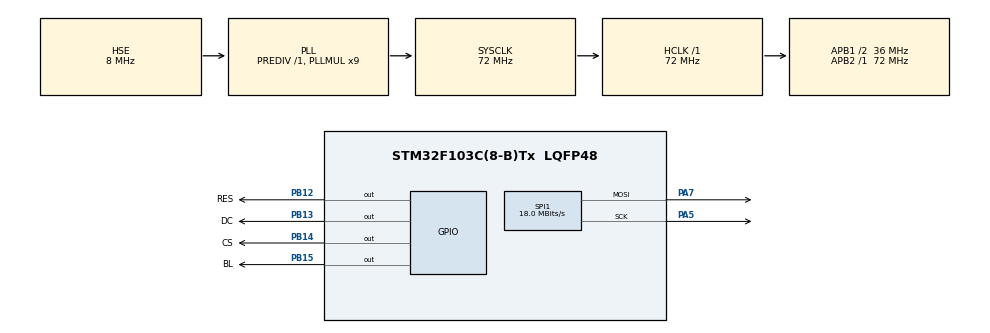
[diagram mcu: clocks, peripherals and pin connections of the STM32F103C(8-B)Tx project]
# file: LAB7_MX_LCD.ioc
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Mcu.Family=STM32F1
Mcu.Name=STM32F103C(8-B)Tx
Mcu.Package=LQFP48
NVIC.PriorityGroup=NVIC_PRIORITYGROUP_4
PA13.Mode=Serial_Wire
PA13.Signal=SYS_JTMS-SWDIO
PA14.Mode=Serial_Wire
PA14.Signal=SYS_JTCK-SWCLK
PA5.Mode=TX_Only_Simplex_Unidirect_Master
PA5.Signal=SPI1_SCK
PA7.Mode=TX_Only_Simplex_Unidirect_Master
PA7.Signal=SPI1_MOSI
PB12.GPIO_Label=RES
PB12.Signal=GPIO_Output
PB13.GPIO_Label=DC
PB13.Signal=GPIO_Output
PB14.GPIO_Label=CS
PB14.Signal=GPIO_Output
PB15.GPIO_Label=BL
PB15.Signal=GPIO_Output
PD0-OSC_IN.Mode=HSE-External-Oscillator
PD0-OSC_IN.Signal=RCC_OSC_IN
PD1-OSC_OUT.Mode=HSE-External-Oscillator
PD1-OSC_OUT.Signal=RCC_OSC_OUT
ProjectManager.HeapSize=0x200
ProjectManager.StackSize=0x400
ProjectManager.TargetToolchain=MDK-ARM V5.32
RCC.AHBFreq_Value=72000000
RCC.APB1CLKDivider=RCC_HCLK_DIV2
RCC.APB1Freq_Value=36000000
RCC.APB1TimFreq_Value=72000000
RCC.APB2Freq_Value=72000000
RCC.APB2TimFreq_Value=72000000
RCC.HCLKFreq_Value=72000000
RCC.PLLMUL=RCC_PLL_MUL9
RCC.PLLSourceVirtual=RCC_PLLSOURCE_HSE
RCC.SYSCLKFreq_VALUE=72000000
RCC.SYSCLKSource=RCC_SYSCLKSOURCE_PLLCLK
RCC.USBFreq_Value=72000000
SPI1.BaudRatePrescaler=SPI_BAUDRATEPRESCALER_4
SPI1.CalculateBaudRate=18.0 MBits/s
SPI1.Direction=SPI_DIRECTION_2LINES
SPI1.Mode=SPI_MODE_MASTER
SPI1.VirtualType=VM_MASTER
board=custom

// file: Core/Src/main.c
///* USER CODE BEGIN Header */
///**
//  ******************************************************************************
//  * @file           : main.c
//  * @brief          : Main program body
//  ******************************************************************************
//  * @attention
//  *
//  * Copyright (c) 2023 STMicroelectronics.
//  * All rights reserved.
//  *
//  * This software is licensed under terms that can be found in the LICENSE file
//  * in the root directory of this software component.
//  * If no LICENSE file comes with this software, it is provided AS-IS.
//  *
//  ******************************************************************************
//  */
///* USER CODE END Header */
///* Includes ------------------------------------------------------------------*/
//#include "main.h"

///* Private includes ----------------------------------------------------------*/
///* USER CODE BEGIN Includes */
//#include "st7735.h"
//#include "fonts.h"
//#include "image.h"
//#include "PLL.h"
//#include "Timer.h"
//#include "ADC.h"
//#include "IO.h"
//#include "SysTick.h"
//#include "UART.h"
//#include "Random.h"
//#include "SpaceInvaders.h"
//#include <string.h>

///* USER CODE END Includes */

///* Private typedef -----------------------------------------------------------*/
///* USER CODE BEGIN PTD */

///* USER CODE END PTD */

///* Private define ------------------------------------------------------------*/
///* USER CODE BEGIN PD */
//#define GPIOB_PIN_7 (1 << 7)
///* USER CODE END PD */

///* Private macro -------------------------------------------------------------*/
///* USER CODE BEGIN PM */

///* USER CODE END PM */

///* Private variables ---------------------------------------------------------*/
//SPI_HandleTypeDef hspi1;

///* USER CODE BEGIN PV */

///* USER CODE END PV */

///* Private function prototypes -----------------------------------------------*/
//void SystemClock_Config(void);
//static void MX_GPIO_Init(void);
//static void MX_SPI1_Init(void);
///* USER CODE BEGIN PFP */

///* USER CODE END PFP */

///* Private user code ---------------------------------------------------------*/
///* USER CODE BEGIN 0 */

///* USER CODE END 0 */

///**
//  * @brief  The application entry point.
//  * @retval int
//  */
//
//void Dec2String(uint32_t num, char* str) {
//    uint32_t count = 0;
//    uint32_t tmp = num;
//    do {
//        tmp /= 10;
//        count++;
//    } while (tmp);
//
//    str[count] = '\0';
//    while (count > 0) {
//        count--;
//        str[count] = num % 10 + '0';
//        num /= 10;
//    }
//}

//char* int2char(uint16_t int_num, char* result) {
//    // Ki?m tra n?u s? n?m ngoài ph?m vi 0-4095
//    if (int_num > 4095) {
//        return NULL;
//    }

//    // Chuy?n s? sang chu?i
//    int i = 3;
//    result[4] = '\0'; // Ð?t kí t? null k?t thúc chu?i

//    // L?y t?ng ch? s? và gán vào chu?i
//    while (int_num > 0) {
//        result[i--] = '0' + (int_num % 10);
//        int_num /= 10;
//    }

//    // N?u s? có ít hon 4 ch? s?, thêm '0' vào d?u
//    while (i >= 0) {
//        result[i--] = '0';
//    }

//    return result;
//}
////uint16_t char2int(char* str) {
////    uint16_t result = 0;

////    // Duy?t t?ng ký t? trong chu?i
////    for (int i = 0; str[i] != '\0'; i++) {
////        // Ki?m tra n?u ký t? không ph?i s?
////        if (str[i] < '0' || str[i] > '9') {
////            return 0; // Tr? v? 0 n?u chu?i không h?p l?
////        }

////        // Tính giá tr? s? t? ký t?
////        result = result * 10 + (str[i] - '0');

////        // Ki?m tra n?u k?t qu? vu?t quá gi?i h?n 0-4095
////        if (result > 4095) {
////            return 0;
////        }
////    }

////    return result;
////}

//uint16_t char2int(char* str) {
//    uint16_t result = 0;
//    uint16_t temp;

//    // Duy?t t?ng ký t? trong chu?i
//    for (int i = 0; str[i] != '\0'; i++) {
//        // Ki?m tra n?u ký t? không ph?i s?
//        if (str[i] < '0' || str[i] > '9') {
//            return UINT16_MAX; // Tr? v? m?t giá tr? d?c bi?t cho tru?ng h?p l?i
//        }

//        temp = result * 10 + (str[i] - '0');

//        // Ki?m tra n?u k?t qu? vu?t quá gi?i h?n 0-4095
//        if (temp > 4095) {
//            return UINT16_MAX; // Tr? v? m?t giá tr? d?c bi?t cho tru?ng h?p l?i
//        }

//        result = temp;
//    }

//    return result;
//}

//Battleship battleship_1;
//Battleship battleship_2;

//bool fill_flag=true;
//bool fill_flag_1=true;
//void fill_src(){
//	if(fill_flag){
//	ST7735_FillScreen(ST7735_PURPOSE);
//		background();
//	}
//}
//void fill_src_1(){
//	if(fill_flag_1){
//	ST7735_FillScreen(ST7735_PURPOSE);
//		background();
//	}
//}
//bool menu_start;
//bool game_start;
//bool menu_end;
//bool init_ship;
//int main(void)
//{
//  /* USER CODE BEGIN 1 */
////	__disable_irq();
//  /* USER CODE END 1 */

//  /* MCU Configuration--------------------------------------------------------*/

//  /* Reset of all peripherals, Initializes the Flash interface and the Systick. */
//  HAL_Init();

//  /* USER CODE BEGIN Init */

//  /* USER CODE END Init */

//  /* Configure the system clock */
////  SystemClock_Config();

//  /* USER CODE BEGIN SysInit */

//  /* USER CODE END SysInit */

//  /* Initialize all configured peripherals */
//  MX_GPIO_Init();
//  MX_SPI1_Init();
//  /* USER CODE BEGIN 2 */
//  ST7735_Init();
//  ST7735_Backlight_On();
//	Random_Init(1);
//  /* USER CODE END 2 */

//  /* Infinite loop */
//  /* USER CODE BEGIN WHILE */
//	PLL_Init();
//	IO_Init();
////	Timer2_Init(32767); // 30Hz
//	ADC_Init();
//	Timer3A_Init(333, 0); // 1Hz
//	UART1_Init();
//	UART2_Init();
////	TIM_Base_Start_IT();
////	NVIC_EnableIRQ(TIM2_IRQn);
//	SysTick_Init(72000000);
////	HAL_TIM_Base_Start_IT(&htim2);
////		ADC1->CR2 |= ADC_CR2_ADON; // Enable ADC
//	ST7735_FillScreen(ST7735_PURPOSE);
//	//background_init();
//	//background();
////	ST7735_DrawString(5,10,"Phu",Font_7x10,ST7735_YELLOW, ST7735_BLACK);
////	ST7735_DrawImage(83, 128, 45, 32, (uint16_t*) battleship_img);
////	ST7735_DrawImage(20, 0, 16, 10, (uint16_t*) enemy16x10);
//  //
//	char Message[12];
////	__enable_irq();
//	battleshipInit_1(&battleship_1);
//	battleshipInit_2(&battleship_2);
////	spriteInit();
//
//	char adc_data_buffer[5];
//	spriteInit();
//
////while(1){
//	while(1){
//   if(init_ship==1){
//		 battleshipBulletInit(&battleship_1);
//		 init_ship=0;
//	 }
////		if(uart_received){
////			rx_write = 0;
////			rx_read = 0;
////			tx_read = 0;
////			tx_write = 0;
////			uart_received = 0;
////			ADCData_2 = char2int(rx_buffer);
////		}
//		if(uart_received){
//			rx_write = 0;
//			rx_read = 0;
//			tx_read = 0;
//			tx_write = 0;
//			uart_received = 0;
//			UART1_SendString(rx_buffer);
//			ADCData_2 = char2int(rx_buffer);
//		}
//
//		if(uart_received_2){
//				while (rx_read_2 != rx_write_2) {
//            // Check if the received command is 'E'
//            if (rx_buffer_2[rx_read_2] == 'E') {
//                // Clear the buffer since we process one command at a time
//                memset((char*)rx_buffer_2, '\0', BUFFER_SIZE);
//                UART2_SendString("E_rx");
//							battleshipBulletInit(&battleship_2);
//                //battleshipBulletInit_2(&battleship_2);
//                // Reset read and write pointers after processing the command
//                rx_read_2 = 0;
//                rx_write_2 = 0;
//                break; // Exit the while loop after processing the command
//            }
//            // Move to the next character
//            rx_read_2 = (rx_read_2 + 1) % BUFFER_SIZE;
//        }

//        // Reset the flag if no more data to process
//        if (rx_read_2 == rx_write_2) {
//            uart_received_2 = 0; // Reset the flag
//        }
//		}
//		if(ADCstatus == 1){
//			ADCstatus = 0;
//			// Wait for the end of conversion
//			while (!(ADC1->SR & ADC_SR_EOC)) {}
//			// Read and return ADC value
//			ADCData = ADC1->DR & 0xFFF;
//			if(game_start){
//				fill_src_1();
//				fill_flag_1=0;
//				background();
//				spriteMove(&battleship_1);
//			battleshipMove(&battleship_1);
//			battleshipMove_2(&battleship_2);
////			spriteMove();
//		battleshipBulletMove(&battleship_1);
//		battleshipBulletMove_1(&battleship_1);
//		battleshipBulletMove_2(&battleship_1);
//		battleshipBulletMove(&battleship_2);
//		battleshipBulletMove_1(&battleship_2);
//		battleshipBulletMove_2(&battleship_2);
//			//battleshipBulletMove_2(&battleship_2);
////		handleCollision(&battleship_1, &battleship_2);
//			}
//		stars_walk_1();
//		stars_walk_2();
//		stars_walk_3();
//		stars_walk_4();
////			if (endGame == 1) break;

//		}
//		if(current_fill_level<120){
//		menu_loading();
//		}
//		else menu_start=1;
//		if(menu_start && !menu_end){
//			fill_src();
//			menu();
//			fill_flag=0;
//		}
//
//}
//	SysTick_Wait10ms(100); // Delay 1s
//	ST7735_FillScreen(0x0000);
//	if (battleship_2.life == dead) {
//	ST7735_DrawString(40,70,"Blue Win",Font_7x10,ST7735_YELLOW, ST7735_BLACK);
//	}
//	else ST7735_DrawString(40,70,"Red Win",Font_7x10,ST7735_YELLOW, ST7735_BLACK);
////	endGame = 0;
////	ADCstatus = 0;
////	SysTick_Wait10ms(200); // Delay 1s
////}
//  /* USER CODE END 3 */
//}

//void EXTI0_IRQHandler(void) {
//    if (EXTI->PR & EXTI_PR_PR0) { // Check if EXTI Line0 interrupt occurred
//        // Handle the switch press event here
//				//UART2_SendChar('E');
//				init_ship=1;
//			game_start=1;
//			menu_end=1;
//			//IO_HeartBeat(6);
////				GPIOB->ODR ^= 1 << 6;
//        // Clear the pending bit to acknowledge the interrupt
//        EXTI->PR |= EXTI_PR_PR0;
//    }
//}

///**
//  * @brief System Clock Configuration
//  * @retval None
//  */
//void SystemClock_Config(void)
//{
//  RCC_OscInitTypeDef RCC_OscInitStruct = {0};
//  RCC_ClkInitTypeDef RCC_ClkInitStruct = {0};

//  /** Initializes the RCC Oscillators according to the specified parameters
//  * in the RCC_OscInitTypeDef structure.
//  */
//  RCC_OscInitStruct.OscillatorType = RCC_OSCILLATORTYPE_HSE;
//  RCC_OscInitStruct.HSEState = RCC_HSE_ON;
//  RCC_OscInitStruct.HSEPredivValue = RCC_HSE_PREDIV_DIV1;
//  RCC_OscInitStruct.HSIState = RCC_HSI_ON;
//  RCC_OscInitStruct.PLL.PLLState = RCC_PLL_ON;
//  RCC_OscInitStruct.PLL.PLLSource = RCC_PLLSOURCE_HSE;
//  RCC_OscInitStruct.PLL.PLLMUL = RCC_PLL_MUL9;
//  if (HAL_RCC_OscConfig(&RCC_OscInitStruct) != HAL_OK)
//  {
//    Error_Handler();
//  }

//  /** Initializes the CPU, AHB and APB buses clocks
//  */
//  RCC_ClkInitStruct.ClockType = RCC_CLOCKTYPE_HCLK|RCC_CLOCKTYPE_SYSCLK
//                              |RCC_CLOCKTYPE_PCLK1|RCC_CLOCKTYPE_PCLK2;
//  RCC_ClkInitStruct.SYSCLKSource = RCC_SYSCLKSOURCE_PLLCLK;
//  RCC_ClkInitStruct.AHBCLKDivider = RCC_SYSCLK_DIV1;
//  RCC_ClkInitStruct.APB1CLKDivider = RCC_HCLK_DIV2;
//  RCC_ClkInitStruct.APB2CLKDivider = RCC_HCLK_DIV1;

//  if (HAL_RCC_ClockConfig(&RCC_ClkInitStruct, FLASH_LATENCY_2) != HAL_OK)
//  {
//    Error_Handler();
//  }
//}

///**
//  * @brief SPI1 Initialization Function
//  * @param None
//  * @retval None
//  */
//static void MX_SPI1_Init(void)
//{

//  /* USER CODE BEGIN SPI1_Init 0 */

//  /* USER CODE END SPI1_Init 0 */

//  /* USER CODE BEGIN SPI1_Init 1 */

//  /* USER CODE END SPI1_Init 1 */
//  /* SPI1 parameter configuration*/
//  hspi1.Instance = SPI1;
//  hspi1.Init.Mode = SPI_MODE_MASTER;
//  hspi1.Init.Direction = SPI_DIRECTION_2LINES;
//  hspi1.Init.DataSize = SPI_DATASIZE_8BIT;
//  hspi1.Init.CLKPolarity = SPI_POLARITY_LOW;
//  hspi1.Init.CLKPhase = SPI_PHASE_1EDGE;
//  hspi1.Init.NSS = SPI_NSS_SOFT;
//  hspi1.Init.BaudRatePrescaler = SPI_BAUDRATEPRESCALER_4;
//  hspi1.Init.FirstBit = SPI_FIRSTBIT_MSB;
//  hspi1.Init.TIMode = SPI_TIMODE_DISABLE;
//  hspi1.Init.CRCCalculation = SPI_CRCCALCULATION_DISABLE;
//  hspi1.Init.CRCPolynomial = 10;
//  if (HAL_SPI_Init(&hspi1) != HAL_OK)
//  {
//    Error_Handler();
//  }
//  /* USER CODE BEGIN SPI1_Init 2 */

//  /* USER CODE END SPI1_Init 2 */

//}

///**
//  * @brief GPIO Initialization Function
//  * @param None
//  * @retval None
//  */
//static void MX_GPIO_Init(void)
//{
//  GPIO_InitTypeDef GPIO_InitStruct = {0};
///* USER CODE BEGIN MX_GPIO_Init_1 */
///* USER CODE END MX_GPIO_Init_1 */

//  /* GPIO Ports Clock Enable */
//  __HAL_RCC_GPIOD_CLK_ENABLE();
//  __HAL_RCC_GPIOA_CLK_ENABLE();
//  __HAL_RCC_GPIOB_CLK_ENABLE();

//  /*Configure GPIO pin Output Level */
//  HAL_GPIO_WritePin(GPIOB, RES_Pin|DC_Pin|CS_Pin|BL_Pin, GPIO_PIN_RESET);

//  /*Configure GPIO pins : RES_Pin DC_Pin CS_Pin BL_Pin */
//  GPIO_InitStruct.Pin = RES_Pin|DC_Pin|CS_Pin|BL_Pin;
//  GPIO_InitStruct.Mode = GPIO_MODE_OUTPUT_PP;
//  GPIO_InitStruct.Pull = GPIO_NOPULL;
//  GPIO_InitStruct.Speed = GPIO_SPEED_FREQ_LOW;
//  HAL_GPIO_Init(GPIOB, &GPIO_InitStruct);

///* USER CODE BEGIN MX_GPIO_Init_2 */
///* USER CODE END MX_GPIO_Init_2 */
//}

///* USER CODE BEGIN 4 */

///* USER CODE END 4 */

///**
//  * @brief  This function is executed in case of error occurrence.
//  * @retval None
//  */
//void Error_Handler(void)
//{
//  /* USER CODE BEGIN Error_Handler_Debug */
//  /* User can add his own implementation to report the HAL error return state */
//  __disable_irq();
//  while (1)
//  {
//  }
//  /* USER CODE END Error_Handler_Debug */
//}

//#ifdef  USE_FULL_ASSERT
///**
//  * @brief  Reports the name of the source file and the source line number
//  *         where the assert_param error has occurred.
//  * @param  file: pointer to the source file name
//  * @param  line: assert_param error line source number
//  * @retval None
//  */
//void assert_failed(uint8_t *file, uint32_t line)
//{
//  /* USER CODE BEGIN 6 */
//  /* User can add his own implementation to report the file name and line number,
//     ex: printf("Wrong parameters value: file %s on line %d\r\n", file, line) */
//  /* USER CODE END 6 */
//}
//#endif /* USE_FULL_ASSERT */

/* USER CODE BEGIN Header */
/**
  ******************************************************************************
  * @file           : main.c
  * @brief          : Main program body
  ******************************************************************************
  * @attention
  *
  * Copyright (c) 2023 STMicroelectronics.
  * All rights reserved.
  *
  * This software is licensed under terms that can be found in the LICENSE file
  * in the root directory of this software component.
  * If no LICENSE file comes with this software, it is provided AS-IS.
  *
  ******************************************************************************
  */
/* USER CODE END Header */
#include "main.h"

/* USER CODE BEGIN Includes */
#include "st7735.h"
#include "fonts.h"
#include "image.h"
#include "PLL.h"
#include "Timer.h"
#include "ADC.h"
#include "IO.h"
#include "SysTick.h"
#include "UART.h"
#include "Random.h"
#include "SpaceInvaders.h"
#include <string.h>

/* USER CODE END Includes */

/* USER CODE BEGIN PD */
#define GPIOB_PIN_7 (1 << 7)
/* USER CODE END PD */

SPI_HandleTypeDef hspi1;

void SystemClock_Config(void);
static void MX_GPIO_Init(void);
static void MX_SPI1_Init(void);

void Dec2String(uint32_t num, char* str) {
    uint32_t count = 0;
    uint32_t tmp = num;
    do {
        tmp /= 10;
        count++;
    } while (tmp);

    str[count] = '\0';
    while (count > 0) {
        count--;
        str[count] = num % 10 + '0';
        num /= 10;
    }
}

char* int2char(uint16_t int_num, char* result) {
    // Ki?m tra n?u s? n?m ngoài ph?m vi 0-4095
    if (int_num > 4095) {
        return NULL;
    }

    // Chuy?n s? sang chu?i
    int i = 3;
    result[4] = '\0'; // Ð?t kí t? null k?t thúc chu?i

    // L?y t?ng ch? s? và gán vào chu?i
    while (int_num > 0) {
        result[i--] = '0' + (int_num % 10);
        int_num /= 10;
    }

    // N?u s? có ít hon 4 ch? s?, thêm '0' vào d?u
    while (i >= 0) {
        result[i--] = '0';
    }

    return result;
}
//uint16_t char2int(char* str) {
//    uint16_t result = 0;

//    // Duy?t t?ng ký t? trong chu?i
//    for (int i = 0; str[i] != '\0'; i++) {
//        // Ki?m tra n?u ký t? không ph?i s?
//        if (str[i] < '0' || str[i] > '9') {
//            return 0; // Tr? v? 0 n?u chu?i không h?p l?
//        }

//        // Tính giá tr? s? t? ký t?
//        result = result * 10 + (str[i] - '0');

//        // Ki?m tra n?u k?t qu? vu?t quá gi?i h?n 0-4095
//        if (result > 4095) {
//            return 0;
//        }
//    }

//    return result;
//}

uint16_t char2int(char* str) {
    uint16_t result = 0;
    uint16_t temp;

    // Duy?t t?ng ký t? trong chu?i
    for (int i = 0; str[i] != '\0'; i++) {
        // Ki?m tra n?u ký t? không ph?i s?
        if (str[i] < '0' || str[i] > '9') {
            return UINT16_MAX; // Tr? v? m?t giá tr? d?c bi?t cho tru?ng h?p l?i
        }

        temp = result * 10 + (str[i] - '0');

        // Ki?m tra n?u k?t qu? vu?t quá gi?i h?n 0-4095
        if (temp > 4095) {
            return UINT16_MAX; // Tr? v? m?t giá tr? d?c bi?t cho tru?ng h?p l?i
        }

        result = temp;
    }

    return result;
}

Battleship battleship_1;
Battleship battleship_2;
bool fill_flag=true;
bool fill_flag_1=true;
void fill_src(){
	if(fill_flag){
	ST7735_FillScreen(ST7735_PURPOSE);
		background();
	}
}
void fill_src_1(){
	if(fill_flag_1){
	ST7735_FillScreen(ST7735_PURPOSE);
		background();
	}
}
bool menu_start;
bool game_start;
bool menu_end;
bool init_ship;
int count1;
volatile uint8_t countGenItem = 0;
volatile uint8_t countGenWaterItem = 0;
int main(void)
{
  /* USER CODE BEGIN 1 */
//	__disable_irq();
  /* USER CODE END 1 */

  /* MCU Configuration--------------------------------------------------------*/

  /* Reset of all peripherals, Initializes the Flash interface and the Systick. */
  HAL_Init();

  /* Configure the system clock */
//  SystemClock_Config();

  /* Initialize all configured peripherals */
  MX_GPIO_Init();
  MX_SPI1_Init();
  /* USER CODE BEGIN 2 */
  ST7735_Init();
  ST7735_Backlight_On();
	Random_Init(1);
  /* USER CODE END 2 */

  /* Infinite loop */
  /* USER CODE BEGIN WHILE */
	PLL_Init();
	IO_Init();
//	Timer2_Init(32767); // 30Hz
	ADC_Init();
	Timer3A_Init(333, 0); // 1Hz
	UART1_Init();
	UART2_Init();
//	TIM_Base_Start_IT();
//	NVIC_EnableIRQ(TIM2_IRQn);
	SysTick_Init(72000000);
//	HAL_TIM_Base_Start_IT(&htim2);
//		ADC1->CR2 |= ADC_CR2_ADON; // Enable ADC
	ST7735_FillScreen(ST7735_PURPOSE);
//	ST7735_DrawString(5,10,"Phu",Font_7x10,ST7735_YELLOW, ST7735_BLACK);
//	ST7735_DrawImage(83, 128, 45, 32, (uint16_t*) battleship_img);
//	ST7735_DrawImage(20, 0, 16, 10, (uint16_t*) enemy16x10);
	char Message[12];
//	__enable_irq();
	battleshipInit_1(&battleship_1);
	battleshipInit_1(&battleship_2);
	init_fire();
	init_water();
	Initbullet(&battleship_1,&battleship_2);
//	spriteInit();
	spriteInit();
	char adc_data_buffer[5];

	while(1){
		  if(init_ship==1){
		 battleshipBulletInit(&battleship_1);
		 init_ship=0;
	 }
//		if(uart_received){
//			rx_write = 0;
//			rx_read = 0;
//			tx_read = 0;
//			tx_write = 0;
//			uart_received = 0;
//			UART1_SendString(rx_buffer);
//			ADCData_2 = char2int(rx_buffer);
//		}
//
		if(uart_received){
			rx_write = 0;
			rx_read = 0;
			tx_read = 0;
			tx_write = 0;
			uart_received = 0;
			UART1_SendString(rx_buffer);
			ADCData_2 = char2int(rx_buffer);
			memset(rx_buffer,NULL,BUFFER_SIZE);
			//			char* temp;
//			UART1_SendString("aaaaaa");
//			int2char(ADCData_2, temp);
//			UART1_SendString(temp);
		}
		if(uart_received_2){
				while (rx_read_2 != rx_write_2) {
            // Check if the received command is 'E'
            if (rx_buffer_2[rx_read_2] == 'E') {
                // Clear the buffer since we process one command at a time
                memset((char*)rx_buffer_2, '\0', BUFFER_SIZE);
                UART2_SendString("E_rx");
                						battleshipBulletInit(&battleship_2);
							changestate();
                // Reset read and write pointers after processing the command
                rx_read_2 = 0;
                rx_write_2 = 0;
                break; // Exit the while loop after processing the command
            }
            // Move to the next character
            rx_read_2 = (rx_read_2 + 1) % BUFFER_SIZE;
        }

        // Reset the flag if no more data to process
        if (rx_read_2 == rx_write_2) {
            uart_received_2 = 0; // Reset the flag
        }
		}

		if(ADCstatus == 1){
			ADCstatus = 0;
			// Wait for the end of conversion
			while (!(ADC1->SR & ADC_SR_EOC)) {}
			// Read and return ADC value
			ADCData = ADC1->DR & 0xFFF;
							if(game_start){
				fill_src_1();
				fill_flag_1=0;
				background();
								countGenItem++;
			if (countGenItem == 150){
			countGenItem = 0;
			// Item Gen
				recover_fire();

//			battleshipBulletInit(&battleship_1);
			GPIOC->ODR ^= 1 << 13;
		}
			countGenWaterItem++;
			if (countGenWaterItem == 210){ // 7 seconds
				countGenWaterItem = 0;
				recover_water();
			}

			// Water Item Gen

			move_water(&battleship_1,&battleship_2);
			move_fire(&battleship_1,&battleship_2);
				spriteMove(&battleship_1,&battleship_2);
		battleshipMove(&battleship_1);
		battleshipMove_2(&battleship_2);
		battleshipBulletMove(&battleship_1);
		battleshipBulletMove_1(&battleship_1);
		battleshipBulletMove_2(&battleship_1);
		battleshipBulletMove(&battleship_2);
		battleshipBulletMove_1(&battleship_2);
		battleshipBulletMove_2(&battleship_2);
							}
									stars_walk_1();
		stars_walk_2();
		stars_walk_3();
		stars_walk_4();
									if(current_fill_level<120){
		menu_loading();
		}
		else menu_start=1;
		if(menu_start && !menu_end){
			fill_src();
			menu();
			if(!(count1--)){
			background();
			count1=5;
			}
			fill_flag=0;
		}
			}
		if(Endgame()) break;
}
		ST7735_FillScreen(ST7735_PURPOSE);
		ST7735_DrawRoundRect(0,60,128,30,4,ST7735_WHITE);
	  ST7735_FillRoundRect(0,62, 128, 26, 4, ST7735_WHITE);
		ST7735_DrawString(20,70,"Qua dep traiii",Font_7x10,ST7735_PURPOSE,ST7735_WHITE);
//	SysTick_Wait10ms(100); // Delay 1s
//	ST7735_FillScreen(0x0000);
//	if (battleship_2.life == dead) {
//	ST7735_DrawString(40,70,"Blue Win",Font_7x10,ST7735_YELLOW, ST7735_BLACK);
//	}
//	else ST7735_DrawString(40,70,"Red Win",Font_7x10,ST7735_YELLOW, ST7735_BLACK);
  /* USER CODE END 3 */
}

void EXTI0_IRQHandler(void) {
    if (EXTI->PR & EXTI_PR_PR0) { // Check if EXTI Line0 interrupt occurred
        // Handle the switch press event here
//				UART2_SendChar('E');
							init_ship=1;
			game_start=1;
			menu_end=1;
//				GPIOB->ODR ^= 1 << 6;
        // Clear the pending bit to acknowledge the interrupt
        EXTI->PR |= EXTI_PR_PR0;
    }
}

void SystemClock_Config(void)
{
  RCC_OscInitTypeDef RCC_OscInitStruct = {0};
  RCC_ClkInitTypeDef RCC_ClkInitStruct = {0};

  /** Initializes the RCC Oscillators according to the specified parameters
  * in the RCC_OscInitTypeDef structure.
  */
  RCC_OscInitStruct.OscillatorType = RCC_OSCILLATORTYPE_HSE;
  RCC_OscInitStruct.HSEState = RCC_HSE_ON;
  RCC_OscInitStruct.HSEPredivValue = RCC_HSE_PREDIV_DIV1;
  RCC_OscInitStruct.HSIState = RCC_HSI_ON;
  RCC_OscInitStruct.PLL.PLLState = RCC_PLL_ON;
  RCC_OscInitStruct.PLL.PLLSource = RCC_PLLSOURCE_HSE;
  RCC_OscInitStruct.PLL.PLLMUL = RCC_PLL_MUL9;
  if (HAL_RCC_OscConfig(&RCC_OscInitStruct) != HAL_OK)
  {
    Error_Handler();
  }

  /** Initializes the CPU, AHB and APB buses clocks
  */
	RCC_ClkInitStruct.ClockType = RCC_CLOCKTYPE_HCLK|RCC_CLOCKTYPE_SYSCLK
                              |RCC_CLOCKTYPE_PCLK1|RCC_CLOCKTYPE_PCLK2;
  RCC_ClkInitStruct.SYSCLKSource = RCC_SYSCLKSOURCE_PLLCLK;
  RCC_ClkInitStruct.AHBCLKDivider = RCC_SYSCLK_DIV1;
  RCC_ClkInitStruct.APB1CLKDivider = RCC_HCLK_DIV2;
  RCC_ClkInitStruct.APB2CLKDivider = RCC_HCLK_DIV1;

  if (HAL_RCC_ClockConfig(&RCC_ClkInitStruct, FLASH_LATENCY_2) != HAL_OK)
  {
    Error_Handler();
  }
}

static void MX_SPI1_Init(void)
{

  /* SPI1 parameter configuration*/
  hspi1.Instance = SPI1;
  hspi1.Init.Mode = SPI_MODE_MASTER;
  hspi1.Init.Direction = SPI_DIRECTION_2LINES;
  hspi1.Init.DataSize = SPI_DATASIZE_8BIT;
  hspi1.Init.CLKPolarity = SPI_POLARITY_LOW;
  hspi1.Init.CLKPhase = SPI_PHASE_1EDGE;
  hspi1.Init.NSS = SPI_NSS_SOFT;
  hspi1.Init.BaudRatePrescaler = SPI_BAUDRATEPRESCALER_4;
  hspi1.Init.FirstBit = SPI_FIRSTBIT_MSB;
  hspi1.Init.TIMode = SPI_TIMODE_DISABLE;
  hspi1.Init.CRCCalculation = SPI_CRCCALCULATION_DISABLE;
  hspi1.Init.CRCPolynomial = 10;
  if (HAL_SPI_Init(&hspi1) != HAL_OK)
  {
    Error_Handler();
  }

}

static void MX_GPIO_Init(void)
{
  GPIO_InitTypeDef GPIO_InitStruct = {0};

  /* GPIO Ports Clock Enable */
  __HAL_RCC_GPIOD_CLK_ENABLE();
  __HAL_RCC_GPIOA_CLK_ENABLE();
  __HAL_RCC_GPIOB_CLK_ENABLE();

  /*Configure GPIO pin Output Level */
  HAL_GPIO_WritePin(GPIOB, RES_Pin|DC_Pin|CS_Pin|BL_Pin, GPIO_PIN_RESET);

  /*Configure GPIO pins : RES_Pin DC_Pin CS_Pin BL_Pin */
  GPIO_InitStruct.Pin = RES_Pin|DC_Pin|CS_Pin|BL_Pin;
  GPIO_InitStruct.Mode = GPIO_MODE_OUTPUT_PP;
  GPIO_InitStruct.Pull = GPIO_NOPULL;
  GPIO_InitStruct.Speed = GPIO_SPEED_FREQ_LOW;
  HAL_GPIO_Init(GPIOB, &GPIO_InitStruct);

}

void Error_Handler(void)
{
  __disable_irq();
  while (1)
  {
  }
}
